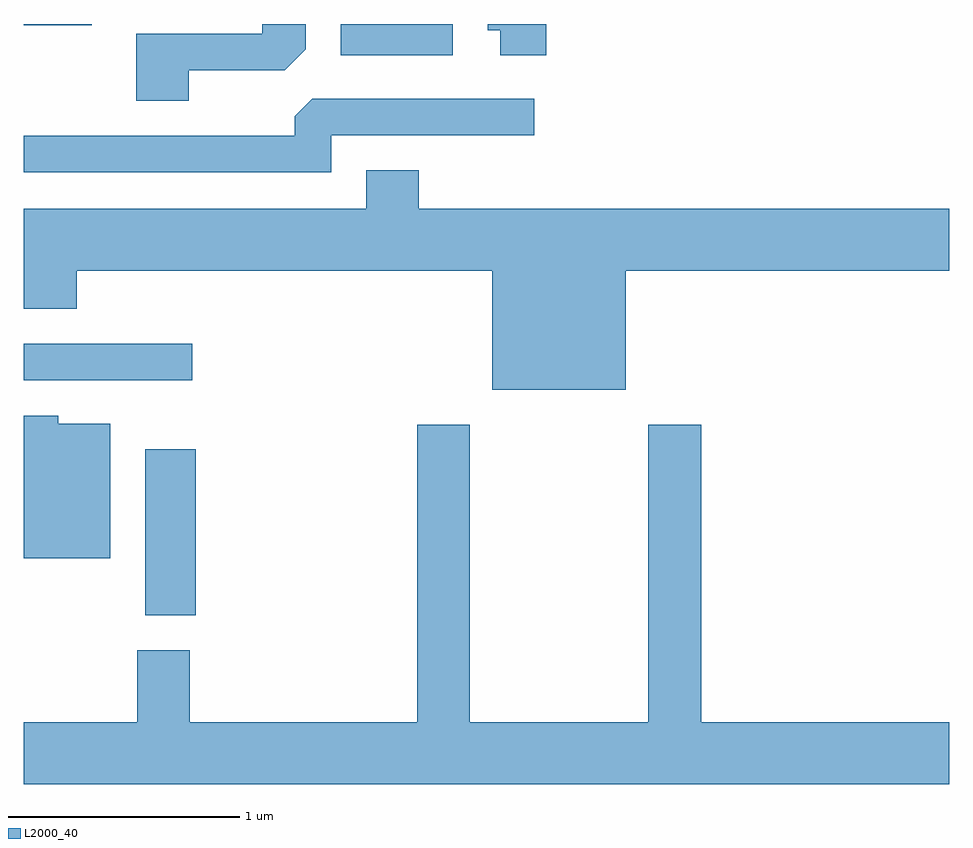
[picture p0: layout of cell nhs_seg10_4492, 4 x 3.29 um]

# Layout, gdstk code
import gdstk
lib = gdstk.Library(unit=1e-6, precision=1e-09)
def R(c, l, rs):  # rectangles x0, y0, x1, y1
    for r in rs: c.add(gdstk.rectangle(r[:2], r[2:], *l))
def P(c, l, *ps):  # polygons
    for p in ps: c.add(gdstk.Polygon(p, *l))
L2000_40 = (2000, 40)

nhs_seg10_4492 = lib.new_cell('nhs_seg10_4492')
R(nhs_seg10_4492, L2000_40, [(318.136,2127.966,318.354,2128.684), (317.611,2128.981,318.338,2129.139), (318.981,2130.386,319.464,2130.522), (317.611,2130.516,317.904,2130.522)])
P(nhs_seg10_4492, L2000_40, [(319.869,2130.522),(319.616,2130.522),(319.616,2130.496),(319.671,2130.496),(319.671,2130.386),(319.869,2130.386)],
  [(318.324,2130.321),(318.739,2130.321),(318.829,2130.412),(318.829,2130.522),(318.641,2130.522),(318.641,2130.479),(318.096,2130.479),(318.096,2130.191),(318.324,2130.191)],
  [(318.939,2130.041),(319.818,2130.041),(319.818,2130.199),(318.857,2130.199),(318.781,2130.124),(318.781,2130.039),(317.611,2130.039),(317.611,2129.881),(318.939,2129.881)],
  [(320.214,2129.456),(321.611,2129.456),(321.611,2129.724),(319.319,2129.724),(319.319,2129.889),(319.091,2129.889),(319.091,2129.724),(317.611,2129.724),(317.611,2129.291),(317.839,2129.291),(317.839,2129.456),(319.636,2129.456),(319.636,2128.941),(320.214,2128.941)],
  [(317.984,2128.794),(317.759,2128.794),(317.759,2128.829),(317.611,2128.829),(317.611,2128.211),(317.984,2128.211)],
  [(321.611,2127.504),(320.539,2127.504),(320.539,2128.789),(320.311,2128.789),(320.311,2127.504),(319.539,2127.504),(319.539,2128.789),(319.311,2128.789),(319.311,2127.504),(318.329,2127.504),(318.329,2127.814),(318.101,2127.814),(318.101,2127.504),(317.611,2127.504),(317.611,2127.236),(321.611,2127.236)])

lib.write_gds('nhs_seg10_4492.gds')
